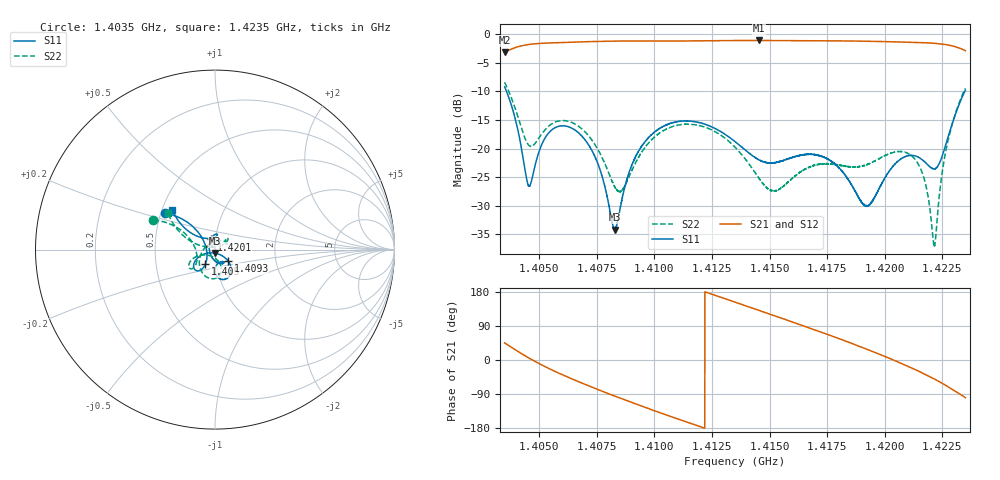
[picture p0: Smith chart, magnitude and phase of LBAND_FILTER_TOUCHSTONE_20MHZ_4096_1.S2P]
!Agilent Technologies,E5071C,MY46316135,A.11.02
!Date: Fri Aug 28 15:14:06 2020
!Data & Calibration Information:
!Freq	S11:SOLT2(ON)	S21:SOLT2(ON)	S12:SOLT2(ON)	S22:SOLT2(ON)
!PortZ  Port1:50+j0  Port2:50+j0
!Above PortZ is port z conversion or system Z0 setting when saving the data.
!When reading, reference impedance value at option line is always used.
# Hz S RI R 50
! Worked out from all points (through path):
!   4096 points, 1.4035 GHz to 1.4235 GHz, reference 50 ohm
!   highest |S21| = -1.08 dB at 1.4145 GHz (marker M1); lowest = -3.2 dB at 1.4035 GHz (marker M2)
!   lowest |S11| = -34.2 dB at 1.4083 GHz (marker M3), VSWR 1.04, Z = 49.8 - j1.95 ohm
!   |S11| at or under -10 dB: 1.4036 GHz to 1.4235 GHz (19.89 MHz wide, 1.41 % of centre)
!   |S22| runs from -37.1 to -8.4 dB; largest |S21 - S12| = 0.011
!   S11 on the Smith chart (normalised r, x): 1.4035 GHz: 0.52, +0.24; 1.405 GHz: 0.89, -0.14; 1.4093 GHz: 1.14, -0.14; 1.4201 GHz: 0.95, +0.11; 1.4235 GHz: 0.57, +0.28
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1.4035e9  -0.2804 0.2046  0.4906 0.4923  0.4842 0.4829  -0.3429 0.165
1.404526e9  -0.0476 0.000887  0.8076 0.0881  0.8051 0.0877  -0.1084 0.00156
1.405004e9  -0.0529 -0.0798  0.8192 -0.1404  0.8184 -0.1426  -0.1032 -0.0711
1.405781e9  -0.1007 -0.1181  0.7111 -0.4562  0.7077 -0.4599  -0.1361 -0.1072
1.406836e9  -0.1119 -0.0656  0.4236 -0.7459  0.4179 -0.7458  -0.1357 -0.0635
1.407578e9  -0.0658 -0.0269  0.1699 -0.8498  0.1668 -0.8462  -0.0896 -0.0336
1.408296e9  -0.0014 -0.0195  -0.0869 -0.8673  -0.0866 -0.8638  -0.0312 -0.0333
1.409307e9  0.0714 -0.062  -0.4204 -0.766  -0.4183 -0.7663  0.0275 -0.0788
1.410167e9  0.09 -0.1166  -0.644 -0.5897  -0.6441 -0.5921  0.0323 -0.1303
1.411861e9  0.038 -0.1659  -0.8692 -0.1045  -0.8724 -0.1033  -0.0445 -0.1543
1.413502e9  0.000532 -0.115  -0.7836 0.4039  -0.7816 0.4069  -0.0863 -0.0561
1.414533e9  0.0159 -0.0782  -0.5808 0.6648  -0.5776 0.6646  -0.054 0.0118
1.415266e9  0.0347 -0.0669  -0.3828 0.7944  -0.3803 0.7921  -0.0142 0.0406
1.416838e9  0.0439 -0.0776  0.1187 0.8698  0.1163 0.8662  0.0566 0.0416
1.419197e9  -0.0305 -0.00669  0.7601 0.4215  0.7553 0.4244  0.0574 0.0436
1.420145e9  -0.0232 0.0569  0.8562 0.0889  0.8539 0.0938  0.0645 0.0618
1.420169e9  -0.0226 0.058  0.8565 0.0795  0.8547 0.0847  0.0648 0.0619
1.421468e9  0.0134 0.0829  0.7377 -0.4139  0.7389 -0.4104  0.0608 0.0391
1.421805e9  0.00664 0.0739  0.6515 -0.5319  0.6523 -0.5288  0.0384 0.0245
1.422152e9  -0.0163 0.0645  0.5349 -0.6387  0.5352 -0.6365  -0.0015 0.0142
1.422694e9  -0.0914 0.0718  0.2954 -0.7533  0.2946 -0.7491  -0.1014 0.0297
1.4235e9  -0.2376 0.2219  -0.1178 -0.7085  -0.1155 -0.7003  -0.2641 0.2087
